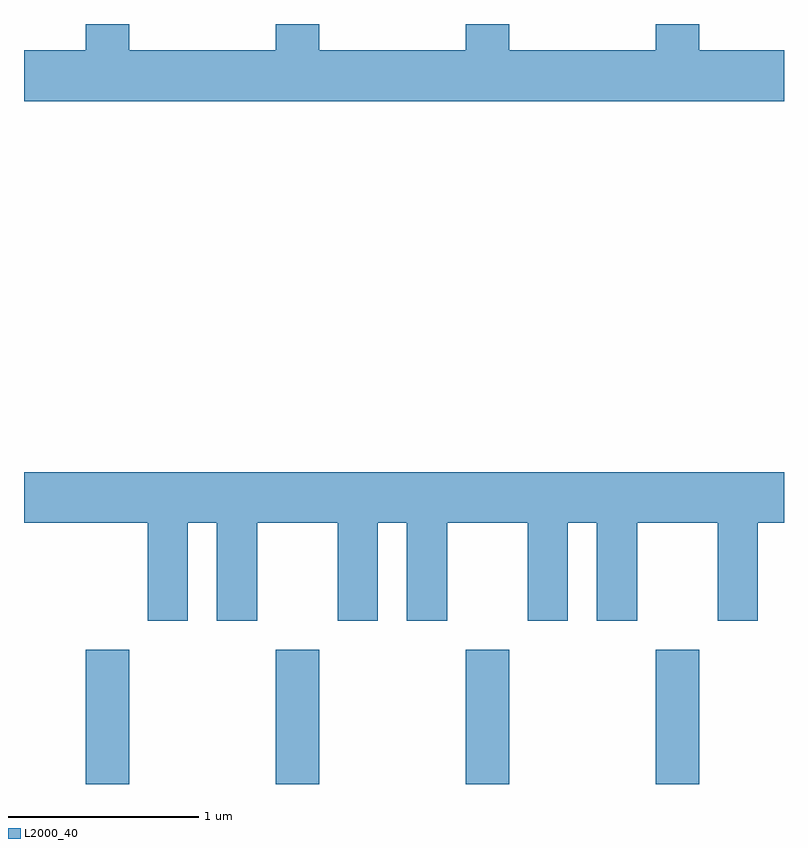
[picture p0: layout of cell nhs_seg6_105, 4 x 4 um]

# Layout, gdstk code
import gdstk
lib = gdstk.Library(unit=1e-6, precision=1e-09)
def R(c, l, rs):  # rectangles x0, y0, x1, y1
    for r in rs: c.add(gdstk.rectangle(r[:2], r[2:], *l))
def A(c, l, x, y, w, h, nx, ny, dx, dy):  # array of equal rectangles
    R(c, l, [(x+i*dx, y+j*dy, x+i*dx+w, y+j*dy+h) for i in range(nx) for j in range(ny)])
def P(c, l, *ps):  # polygons
    for p in ps: c.add(gdstk.Polygon(p, *l))
L2000_40 = (2000, 40)

nhs_seg6_105 = lib.new_cell('nhs_seg6_105')
A(nhs_seg6_105, L2000_40, 187.936, 1604.162, 0.228, 0.707, 4, 1, 1, 0)
P(nhs_seg6_105, L2000_40, [(191.611,1608.024),(191.164,1608.024),(191.164,1608.162),(190.936,1608.162),(190.936,1608.024),(190.164,1608.024),(190.164,1608.162),(189.936,1608.162),(189.936,1608.024),(189.164,1608.024),(189.164,1608.162),(188.936,1608.162),(188.936,1608.024),(188.164,1608.024),(188.164,1608.162),(187.936,1608.162),(187.936,1608.024),(187.611,1608.024),(187.611,1607.756),(191.611,1607.756)],
  [(188.474,1605.536),(188.626,1605.536),(188.626,1605.021),(188.839,1605.021),(188.839,1605.536),(189.261,1605.536),(189.261,1605.021),(189.474,1605.021),(189.474,1605.536),(189.626,1605.536),(189.626,1605.021),(189.839,1605.021),(189.839,1605.536),(190.261,1605.536),(190.261,1605.021),(190.474,1605.021),(190.474,1605.536),(190.626,1605.536),(190.626,1605.021),(190.839,1605.021),(190.839,1605.536),(191.261,1605.536),(191.261,1605.021),(191.474,1605.021),(191.474,1605.536),(191.611,1605.536),(191.611,1605.804),(187.611,1605.804),(187.611,1605.536),(188.261,1605.536),(188.261,1605.021),(188.474,1605.021)])

lib.write_gds('nhs_seg6_105.gds')
